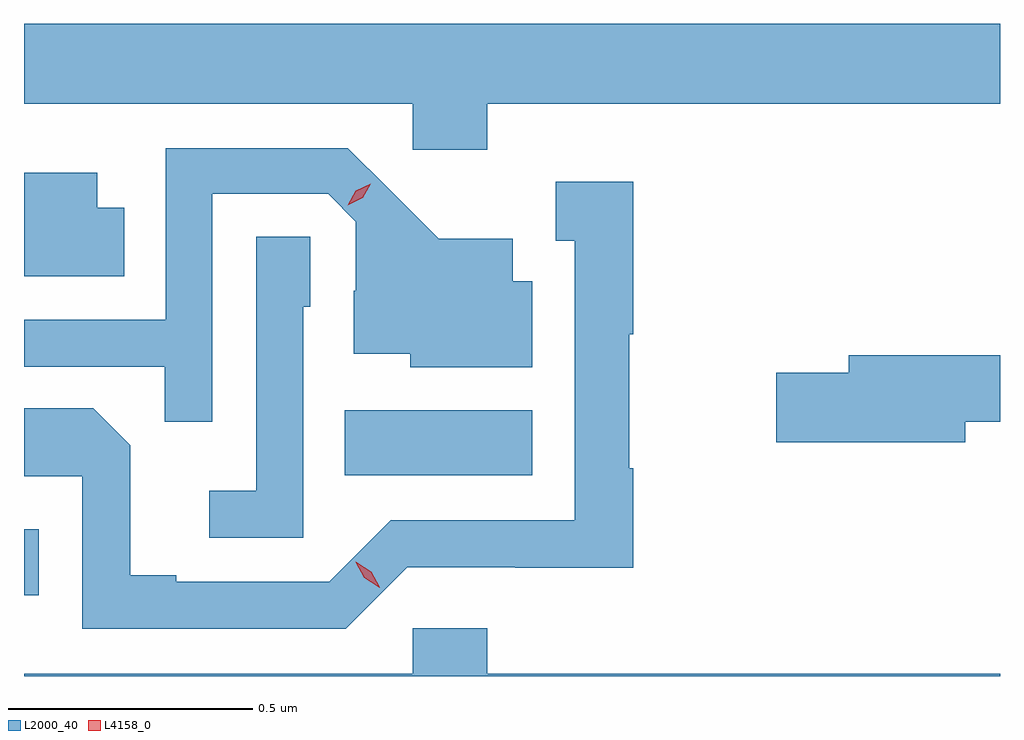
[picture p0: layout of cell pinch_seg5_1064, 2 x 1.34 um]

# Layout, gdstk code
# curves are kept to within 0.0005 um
import gdstk
lib = gdstk.Library(unit=1e-6, precision=1e-09)
def R(c, l, rs):  # rectangles x0, y0, x1, y1
    for r in rs: c.add(gdstk.rectangle(r[:2], r[2:], *l))
def P(c, l, *ps):  # polygons
    for p in ps: c.add(gdstk.Polygon(p, *l))
L2000_40 = (2000, 40)
L4158_0 = (4158, 0)

pinch_seg5_1064 = lib.new_cell('pinch_seg5_1064')
R(pinch_seg5_1064, L2000_40, [(743.659,841.1,743.689,841.236), (744.316,841.346,744.7,841.48)])
P(pinch_seg5_1064, L2000_40, [(744.608,842.108),(745.659,842.108),(745.659,842.272),(743.659,842.272),(743.659,842.108),(744.456,842.108),(744.456,842.013),(744.608,842.013)],
  [(744.045,841.923),(744.282,841.923),(744.339,841.866),(744.339,841.724),(744.335,841.724),(744.335,841.595),(744.45,841.595),(744.45,841.568),(744.7,841.568),(744.7,841.744),(744.661,841.744),(744.661,841.831),(744.509,841.831),(744.322,842.016),(743.949,842.016),(743.949,841.665),(743.659,841.665),(743.659,841.569),(743.947,841.569),(743.947,841.456),(744.045,841.456)],
  [(743.864,841.894),(743.809,841.894),(743.809,841.966),(743.659,841.966),(743.659,841.754),(743.864,841.754)],
  [(744.444,841.158),(744.666,841.158),(744.666,841.157),(744.907,841.157),(744.907,841.361),(744.899,841.361),(744.899,841.635),(744.907,841.635),(744.907,841.948),(744.749,841.948),(744.749,841.827),(744.788,841.827),(744.788,841.254),(744.411,841.254),(744.285,841.128),(743.971,841.128),(743.971,841.141),(743.877,841.141),(743.877,841.408),(743.801,841.484),(743.659,841.484),(743.659,841.344),(743.778,841.344),(743.778,841.032),(744.318,841.032)],
  [(744.231,841.692),(744.246,841.692),(744.246,841.835),(744.135,841.835),(744.135,841.315),(744.039,841.315),(744.039,841.218),(744.231,841.218)],
  [(745.588,841.456),(745.659,841.456),(745.659,841.592),(745.349,841.592),(745.349,841.556),(745.2,841.556),(745.2,841.414),(745.588,841.414)],
  [(745.659,840.94),(744.608,840.94),(744.608,841.033),(744.456,841.033),(744.456,840.94),(743.659,840.94),(743.659,840.934),(745.659,840.934)])
P(pinch_seg5_1064, L4158_0, [(744.388,841.116),(744.356,841.136),(744.339,841.168),(744.339,841.169),(744.339,841.169),(744.371,841.149),(744.388,841.117),(744.388,841.116)],
  [(744.322,841.9),(744.322,841.9),(744.339,841.929),(744.37,841.944),(744.37,841.944),(744.37,841.944),(744.353,841.915),(744.322,841.9)])

lib.write_gds('pinch_seg5_1064.gds')
